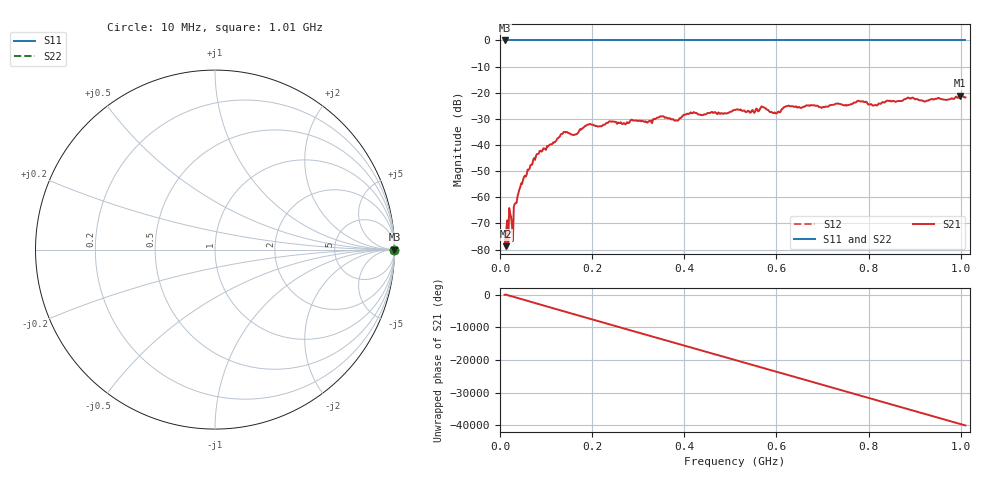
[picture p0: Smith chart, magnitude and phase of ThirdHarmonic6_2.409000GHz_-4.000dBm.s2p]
! 8/17/2025 4:01:35 AM
! C:\ANRITSUVNA\TEMP\TEMP.S2P
! CHANNEL.1
! TR.MEASUREMENT
! RAW.DATA
! RF.CORRECTION.OFF
! AVERAGING.OFF
! IF.BANDWIDTH: 5KHZ
! SWEEPTYPE:  FREQ.SWEEP(Linear)
! Reference Plane Port Info
! PORT:  PORT1  PORT2
! DISTANCE:  0  m  0  m
! TIME:  0  s  0  s
! PHASE.OFFSET:  0  deg.  0  deg.
! LOSS:  0  dB  0  dB
! REF.LOSS:  0  dB  0  dB
! REF.FREQ:  0  Hz  0  Hz
! Power Info
! POWER:  -20  dBm  -20  dBm
! EFF.POWER:  -20  dBm  -20  dBm
! SOURCE.ATTEN:  0  dB  0  dB
! TEST.ATTEN:  0  dB  0  dB
# GHZ S RI R 50.0
! FREQ.GHZ  S11RE  S11IM  S21RE  S21IM  S12RE  S12IM  S22RE  S22IM
!; PortSelection: Port_12
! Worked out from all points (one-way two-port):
!   501 points, 10 MHz to 1.01 GHz, reference 50 ohm
!   highest |S21| = -21.11 dB at 998 MHz (marker M1); lowest = -78.7 dB at 12 MHz (marker M2)
!   lowest |S11| = 0.0 dB at 10 MHz (marker M3)
!   |S11| at or under -10 dB: nowhere
!   |S22| runs from 0.0 to 0.0 dB; largest |S21 - S12| = 1.1
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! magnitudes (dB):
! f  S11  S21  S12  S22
! 10 MHz  0.0  -72.9  0.0  0.0
! 12 MHz  0.0  -78.7  0.0  0.0
! 14 MHz  0.0  -71.6  0.0  0.0
! 20 MHz  0.0  -64.1  0.0  0.0
! 28 MHz  0.0  -76.7  0.0  0.0
! 34 MHz  0.0  -62.2  0.0  0.0
! 50 MHz  0.0  -53.4  0.0  0.0
! 82 MHz  0.0  -43.4  0.0  0.0
! 136 MHz  0.0  -35.7  0.0  0.0
! 162 MHz  0.0  -36.0  0.0  0.0
! 178 MHz  0.0  -33.8  0.0  0.0
! 344 MHz  0.0  -29.5  0.0  0.0
! 382 MHz  0.0  -30.5  0.0  0.0
! 416 MHz  0.0  -27.8  0.0  0.0
! 510 MHz  0.0  -26.6  0.0  0.0
! 570 MHz  0.0  -25.4  0.0  0.0
! 596 MHz  0.0  -27.5  0.0  0.0
! 624 MHz  0.0  -25.1  0.0  0.0
! 678 MHz  0.0  -24.8  0.0  0.0
! 844 MHz  0.0  -23.1  0.0  0.0
! 998 MHz  0.0  -21.1  0.0  0.0
! 1.01 GHz  0.0  -21.8  0.0  0.0
